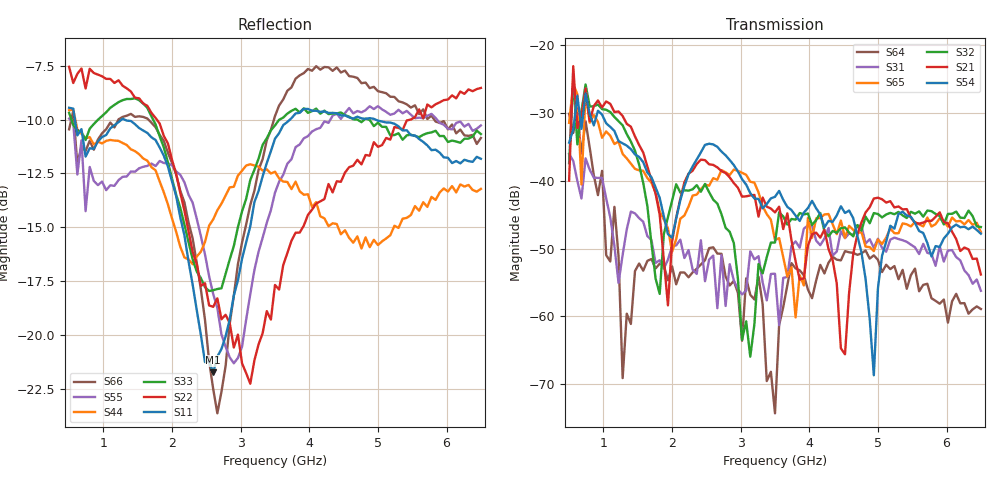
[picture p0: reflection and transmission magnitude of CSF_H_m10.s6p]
!Keysight Technologies,M9804A,MY58100912,A.14.10.03
!Date: Thursday, April 27, 2023 10:28:33
!Correction: S11(C  6-Port  )
!S12(C  6-Port  )
!S13(C  6-Port  )
!S14(C  6-Port  )
!S15(C  6-Port  )
!S16(C  6-Port  )
!S21(C  6-Port  )
!S22(C  6-Port  )
!S23(C  6-Port  )
!S24(C  6-Port  )
!S25(C  6-Port  )
!S26(C  6-Port  )
!S31(C  6-Port  )
!S32(C  6-Port  )
!S33(C  6-Port  )
!S34(C  6-Port  )
!S35(C  6-Port  )
!S36(C  6-Port  )
!S41(C  6-Port  )
!S42(C  6-Port  )
!S43(C  6-Port  )
!S44(C  6-Port  )
!S45(C  6-Port  )
!S46(C  6-Port  )
!S51(C  6-Port  )
!S52(C  6-Port  )
!S53(C  6-Port  )
!S54(C  6-Port  )
!S55(C  6-Port  )
!S56(C  6-Port  )
!S61(C  6-Port  )
!S62(C  6-Port  )
!S63(C  6-Port  )
!S64(C  6-Port  )
!S65(C  6-Port  )
!S66(C  6-Port  )
!S6P File: Measurement: :
# Hz S  RI  R 50
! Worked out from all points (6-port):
!   101 points, 500 MHz to 6.5 GHz, reference 50 ohm
!   strongest paths, dB at 500 MHz, 2 GHz, 3.5 GHz, 5 GHz, 6.5 GHz:
!     S54: -34.4, -48.4, -42.4, -55.8, -47.8
!     S21: -40.0, -49.0, -44.7, -42.5, -53.8
!     S32: -37.4, -42.9, -49.1, -44.9, -46.8
!     S65: -31.4, -50.5, -48.7, -48.7, -47.5
!     S31: -36.0, -49.7, -53.7, -48.5, -56.2
!     S64: -30.1, -52.6, -74.3, -51.7, -58.9
!   lowest |S11| = -21.7 dB at 2.6 GHz (marker M1), VSWR 1.18, Z = 42.7 + j2 ohm
!   |S11| at or under -10 dB: 584.8 MHz to 1.263 GHz (677.7 MHz wide, 73.4 % of centre); 1.311 GHz to 3.717 GHz (2.406 GHz wide, 95.7 % of centre); 4.968 GHz to end of sweep
